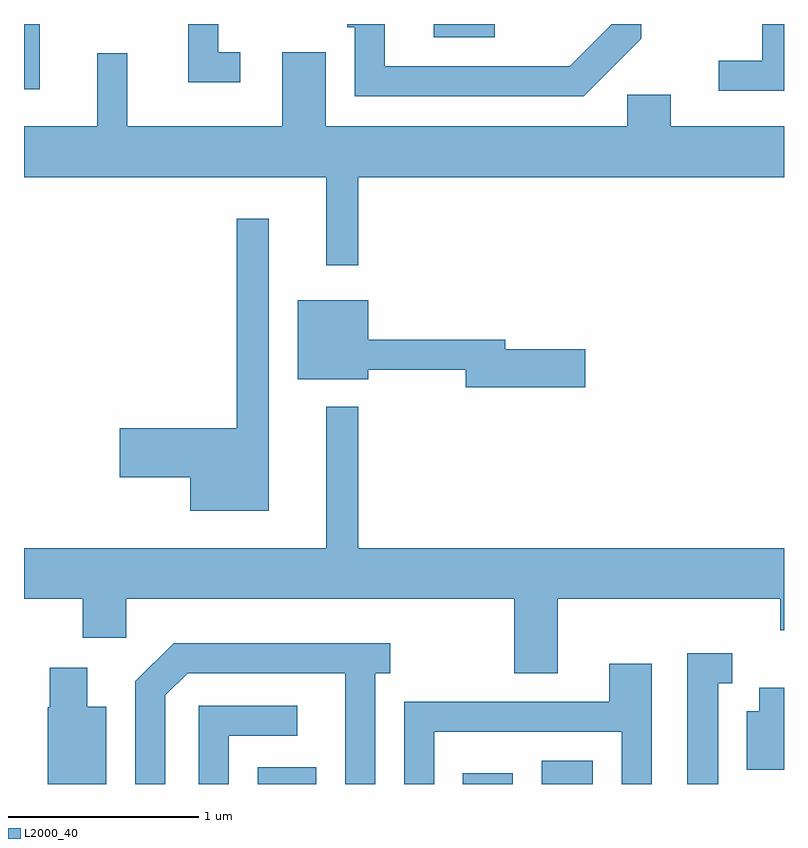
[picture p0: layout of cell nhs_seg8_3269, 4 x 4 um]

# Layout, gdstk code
import gdstk
lib = gdstk.Library(unit=1e-6, precision=1e-09)
def R(c, l, rs):  # rectangles x0, y0, x1, y1
    for r in rs: c.add(gdstk.rectangle(r[:2], r[2:], *l))
def P(c, l, *ps):  # polygons
    for p in ps: c.add(gdstk.Polygon(p, *l))
L2000_40 = (2000, 40)

nhs_seg8_3269 = lib.new_cell('nhs_seg8_3269')
R(nhs_seg8_3269, L2000_40, [(284.841,1824.342,285.149,1824.429), (285.921,1824.342,286.184,1824.399), (286.336,1824.342,286.604,1824.464), (283.611,1827.998,283.694,1828.342), (285.768,1828.271,286.089,1828.342)])
P(nhs_seg8_3269, L2000_40, [(287.611,1828.342),(287.496,1828.342),(287.496,1828.149),(287.268,1828.149),(287.268,1827.991),(287.611,1827.991)],
  [(286.859,1828.264),(286.859,1828.342),(286.701,1828.342),(286.701,1828.337),(286.484,1828.119),(285.509,1828.119),(285.509,1828.342),(285.311,1828.342),(285.311,1828.326),(285.351,1828.326),(285.351,1827.961),(286.557,1827.961)],
  [(284.748,1828.194),(284.634,1828.194),(284.634,1828.342),(284.476,1828.342),(284.476,1828.036),(284.748,1828.036)],
  [(285.369,1827.536),(287.611,1827.536),(287.611,1827.804),(287.014,1827.804),(287.014,1827.969),(286.786,1827.969),(286.786,1827.804),(285.199,1827.804),(285.199,1828.194),(284.971,1828.194),(284.971,1827.804),(284.154,1827.804),(284.154,1828.188),(283.996,1828.188),(283.996,1827.804),(283.611,1827.804),(283.611,1827.536),(285.201,1827.536),(285.201,1827.073),(285.369,1827.073)],
  [(284.899,1827.318),(284.731,1827.318),(284.731,1826.214),(284.116,1826.214),(284.116,1825.956),(284.486,1825.956),(284.486,1825.781),(284.899,1825.781)],
  [(286.564,1826.629),(286.144,1826.629),(286.144,1826.679),(285.424,1826.679),(285.424,1826.889),(285.051,1826.889),(285.051,1826.471),(285.424,1826.471),(285.424,1826.521),(285.936,1826.521),(285.936,1826.431),(286.564,1826.431)],
  [(286.419,1825.316),(287.591,1825.316),(287.591,1825.151),(287.611,1825.151),(287.611,1825.584),(285.369,1825.584),(285.369,1826.328),(285.201,1826.328),(285.201,1825.584),(283.611,1825.584),(283.611,1825.316),(283.921,1825.316),(283.921,1825.111),(284.149,1825.111),(284.149,1825.316),(286.191,1825.316),(286.191,1824.926),(286.419,1824.926)],
  [(284.354,1824.809),(284.472,1824.926),(285.301,1824.926),(285.301,1824.342),(285.459,1824.342),(285.459,1824.926),(285.538,1824.926),(285.538,1825.084),(284.399,1825.084),(284.196,1824.882),(284.196,1824.342),(284.354,1824.342)],
  [(287.264,1824.871),(287.338,1824.871),(287.338,1825.029),(287.101,1825.029),(287.101,1824.342),(287.264,1824.342)],
  [(285.769,1824.616),(286.756,1824.616),(286.756,1824.342),(286.914,1824.342),(286.914,1824.974),(286.691,1824.974),(286.691,1824.774),(285.611,1824.774),(285.611,1824.342),(285.769,1824.342)],
  [(284.044,1824.749),(283.944,1824.749),(283.944,1824.954),(283.746,1824.954),(283.746,1824.745),(283.736,1824.745),(283.736,1824.342),(284.044,1824.342)],
  [(287.611,1824.849),(287.481,1824.849),(287.481,1824.724),(287.416,1824.724),(287.416,1824.416),(287.611,1824.416)],
  [(284.689,1824.596),(285.048,1824.596),(285.048,1824.754),(284.531,1824.754),(284.531,1824.342),(284.689,1824.342)])

lib.write_gds('nhs_seg8_3269.gds')
